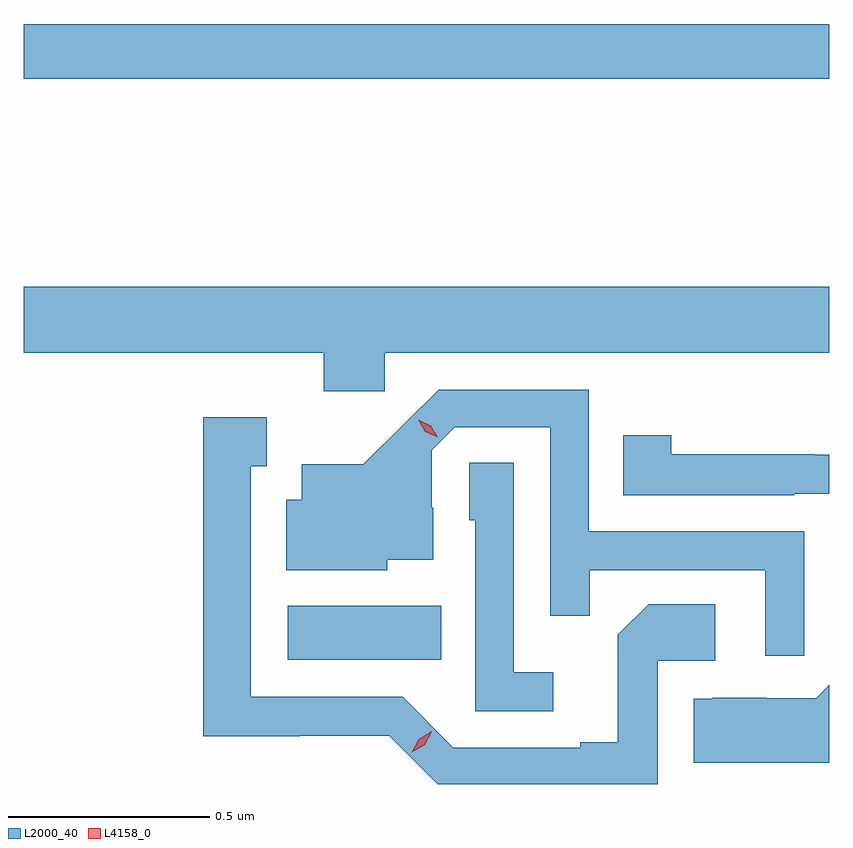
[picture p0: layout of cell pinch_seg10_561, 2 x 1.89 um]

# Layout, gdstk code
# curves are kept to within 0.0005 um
import gdstk
lib = gdstk.Library(unit=1e-6, precision=1e-09)
def R(c, l, rs):  # rectangles x0, y0, x1, y1
    for r in rs: c.add(gdstk.rectangle(r[:2], r[2:], *l))
def P(c, l, *ps):  # polygons
    for p in ps: c.add(gdstk.Polygon(p, *l))
L2000_40 = (2000, 40)
L4158_0 = (4158, 0)

pinch_seg10_561 = lib.new_cell('pinch_seg10_561')
R(pinch_seg10_561, L2000_40, [(228.84,1264.922,229.22,1265.056), (228.184,1266.364,230.184,1266.5)])
P(pinch_seg10_561, L2000_40, [(229.08,1265.684),(230.184,1265.684),(230.184,1265.848),(228.184,1265.848),(228.184,1265.684),(228.929,1265.684),(228.929,1265.589),(229.08,1265.589)],
  [(230.121,1265.241),(229.587,1265.241),(229.587,1265.592),(229.214,1265.592),(229.027,1265.407),(228.875,1265.407),(228.875,1265.32),(228.836,1265.32),(228.836,1265.144),(229.086,1265.144),(229.086,1265.171),(229.201,1265.171),(229.201,1265.3),(229.197,1265.3),(229.197,1265.442),(229.254,1265.499),(229.491,1265.499),(229.491,1265.032),(229.589,1265.032),(229.589,1265.145),(230.025,1265.145),(230.025,1264.932),(230.121,1264.932)],
  [(229.758,1264.92),(229.9,1264.92),(229.9,1265.06),(229.735,1265.06),(229.659,1264.984),(229.659,1264.717),(229.565,1264.717),(229.565,1264.704),(229.251,1264.704),(229.125,1264.83),(228.748,1264.83),(228.748,1265.403),(228.787,1265.403),(228.787,1265.524),(228.63,1265.524),(228.63,1264.733),(228.87,1264.733),(228.87,1264.734),(229.092,1264.734),(229.212,1264.614),(229.758,1264.614)],
  [(230.096,1265.334),(230.184,1265.334),(230.184,1265.431),(230.147,1265.431),(230.147,1265.432),(229.791,1265.432),(229.791,1265.479),(229.672,1265.479),(229.672,1265.331),(230.096,1265.331)],
  [(229.498,1264.891),(229.401,1264.891),(229.401,1265.411),(229.29,1265.411),(229.29,1265.268),(229.305,1265.268),(229.305,1264.794),(229.498,1264.794)],
  [(230.184,1264.86),(230.151,1264.827),(230.028,1264.827),(230.028,1264.828),(229.894,1264.828),(229.891,1264.825),(229.847,1264.825),(229.847,1264.667),(230.184,1264.667)])
P(pinch_seg10_561, L4158_0, [(229.212,1265.474),(229.181,1265.488),(229.164,1265.518),(229.164,1265.518),(229.164,1265.518),(229.195,1265.503),(229.212,1265.474),(229.212,1265.474)],
  [(229.148,1264.693),(229.148,1264.693),(229.165,1264.725),(229.197,1264.745),(229.197,1264.745),(229.197,1264.744),(229.18,1264.712),(229.148,1264.693)])

lib.write_gds('pinch_seg10_561.gds')
